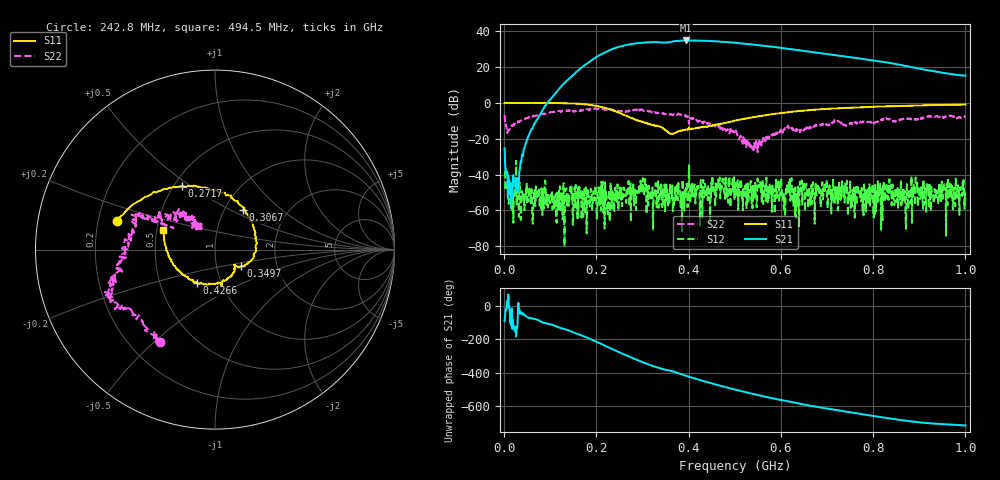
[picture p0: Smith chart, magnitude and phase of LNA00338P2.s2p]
! Created with skrf 1.9.0 (http://scikit-rf.org).
# Hz S RI R 50.0
!freq ReS11 ImS11 ReS21 ImS21 ReS12 ImS12 ReS22 ImS22
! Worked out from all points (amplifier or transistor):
!   1001 points, 1 MHz to 1 GHz, reference 50 ohm
!   highest |S21| = 34.9 dB at 394.6 MHz (marker M1)
!   |S21| within 3 dB of that: 257.2 MHz to 564.4 MHz (307.2 MHz wide, 74.8 % of centre)
!   unconditionally stable (mu >= 1): 245.8 MHz to 300.7 MHz; 300.7 MHz to 400.4 MHz; 401 MHz to end of sweep (the widest 3 of 32)
!   at 166.8 MHz: K = 2.05, MAG = 29.5 dB, |S12| = -51.2 dB
!   at 500.5 MHz: K = 2.01, MAG = 34.4 dB, |S12| = -46.6 dB
!   at 1 GHz: K = 7.26, MAG = 23.4 dB, |S12| = -54.7 dB
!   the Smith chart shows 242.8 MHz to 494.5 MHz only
!   S11 on the Smith chart (normalised r, x): 242.8 MHz: 0.28, +0.13; 271.7 MHz: 0.55, +0.46; 306.7 MHz: 1.22, +0.58; 349.7 MHz: 1.31, -0.25; 426.6 MHz: 0.77, -0.30; 494.5 MHz: 0.54, +0.13
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1000000  0.9858 0.005  -3.27e-05 -0.0544  -0.0084 0.0066  0.3294 0.3299
1.08892e8  0.5143 -0.8519  -0.7998 -1.5  -0.000234 0.00111  0.4219 -0.3642
1.67833e8  -0.2456 -0.8986  -9.771 -0.579  -0.000509 0.000187  0.0407 -0.6181
2.09791e8  -0.6817 -0.3723  -15.42 16.57  0.000531 0.000819  -0.2008 -0.6606
2.42758e8  -0.5463 0.1585  -0.158 34.66  -0.00103 -0.00316  -0.3075 -0.516
2.71729e8  -0.1831 0.354  25.1 35.12  0.000304 0.00123  -0.4994 -0.3246
3.06694e8  0.1577 0.2205  47.01 12.82  -0.00353 -0.00189  -0.5843 -0.1998
3.34666e8  0.222 -0.0168  48.27 -10.39  -0.000832 0.000819  -0.525 -0.0395
3.49651e8  0.1457 -0.0934  44.76 -18.89  0.00139 -0.00038  -0.4833 0.0413
3.71629e8  0.1098 -0.0973  41.77 -33.19  0.000447 0.00187  -0.442 0.1654
3.94606e8  0.0598 -0.1705  28.2 -47.92  0.00323 0.00303  -0.383 0.1929
4.26574e8  -0.0999 -0.1867  3.299 -54.59  0.00406 0.00576  -0.2288 0.1645
4.55545e8  -0.2194 -0.1016  -17.52 -49.75  0.00176 0.00311  -0.1631 0.179
4.94506e8  -0.287 0.1066  -36.27 -32.57  0.00524 0.000129  -0.0944 0.1328
5.005e8  -0.2904 0.1357  -38.07 -29.47  -0.000484 0.00466  -0.0941 0.1228
5.4046e8  -0.2026 0.3417  -41.66 -8.308  0.00155 -0.00462  -0.0431 0.0203
5.88412e8  0.00962 0.4983  -34.29 11.44  0.00292 -0.00194  -0.1138 -0.07
6.28372e8  0.2049 0.5367  -23.57 20.01  0.00275 -0.00304  -0.1514 -0.0929
6.67333e8  0.3942 0.4982  -12.85 22.92  -0.000506 -0.00141  -0.2185 -0.0254
7.53247e8  0.6781 0.2872  3.211 18.38  0.00184 -0.00185  -0.2525 0.029
8.34166e8  0.8038 0.0151  9.335 9.415  0.00237 -0.00209  -0.344 0.0387
1e9  0.7265 -0.5314  5.763 0.2277  -0.00123 0.00135  -0.227 0.3349
